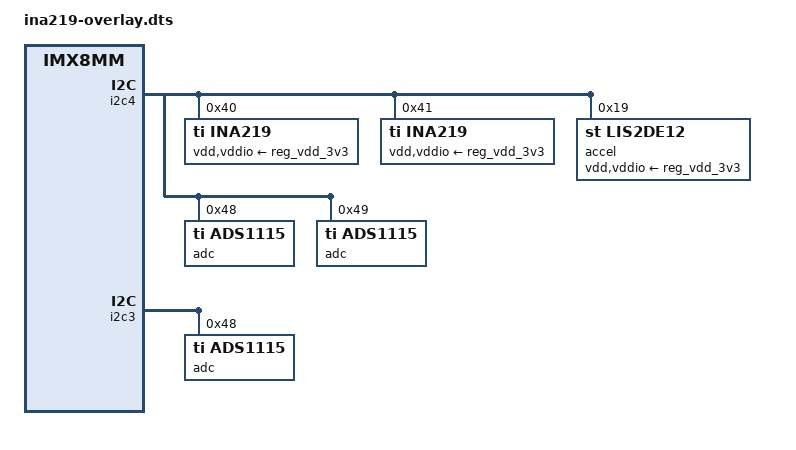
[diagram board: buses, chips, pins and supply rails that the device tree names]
/dts-v1/;
/plugin/;

/*
 * Reserved I2C addresses on i2c4 (Verdin I2C_1):
 * 0x21 - GPIO Expander (PCAL6416)
 * 0x2C - LVDS Bridge (SN65DSI84)
 * 0x40 - INA219 Current Sensor (hwmon)
 * 0x48 - HDMI Bridge (LT8912)
 * 0x49 - ADC
 * 0x4A - Touch Controller (Atmel MaxTouch)
 * 0x4F - Temperature Sensor (TMP75C)
 * 0x50 - Display Adapter EEPROM
 * 0x57 - Carrier Board EEPROM
 *
 * From i2cdetect, these addresses show as in use (UU):
 * 0x40, 0x49, 0x4F, 0x50, 0x57
 */

#include <dt-bindings/gpio/gpio.h>
#include <dt-bindings/interrupt-controller/irq.h>

/ {
	compatible = "toradex,verdin-imx8mm";
};

// Enable &i2c2
&i2c4 {   
	#address-cells = <1>;
	#size-cells = <0>;
	status = "okay";
	
	ina219@40 {
		compatible = "ti,ina219";
		reg = <0x40>;
		status = "okay";
		shunt-resistor = <100000>;
		vdd-supply = <&reg_vdd_3v3>;
		vddio-supply = <&reg_vdd_3v3>;
	};

	ina219@41 {
		compatible = "ti,ina219";
		reg = <0x41>;
		status = "okay";
		shunt-resistor = <100000>;
		vdd-supply = <&reg_vdd_3v3>;
		vddio-supply = <&reg_vdd_3v3>;
	}; 

	accel@19 {
		compatible = "st,lis2de12";
		reg = <0x19>;
		status = "okay";
		vdd-supply = <&reg_vdd_3v3>;
		vddio-supply = <&reg_vdd_3v3>;
	};

	adc@48 {
		compatible = "ti,ads1115";
		reg = <0x48>;
		#address-cells = <1>;
		#size-cells = <0>;
		#io-channel-cells = <1>;

		/* Verdin I2C_1 (ADC_4 - ADC_3) */
		channel@0 {
			reg = <0>;
			ti,datarate = <4>;
			ti,gain = <2>;
		};

		/* Verdin I2C_1 (ADC_4 - ADC_1) */
		channel@1 {
			reg = <1>;
			ti,datarate = <4>;
			ti,gain = <2>;
		};

		/* Verdin I2C_1 (ADC_3 - ADC_1) */
		channel@2 {
			reg = <2>;
			ti,datarate = <4>;
			ti,gain = <2>;
		};

		/* Verdin I2C_1 (ADC_2 - ADC_1) */
		channel@3 {
			reg = <3>;
			ti,datarate = <4>;
			ti,gain = <2>;
		};

		/* Verdin I2C_1 ADC_4 */
		channel@4 {
			reg = <4>;
			ti,datarate = <4>;
			ti,gain = <2>;
		};

		/* Verdin I2C_1 ADC_3 */
		channel@5 {
			reg = <5>;
			ti,datarate = <4>;
			ti,gain = <2>;
		};

		/* Verdin I2C_1 ADC_2 */
		channel@6 {
			reg = <6>;
			ti,datarate = <4>;
			ti,gain = <2>;
		};

		/* Verdin I2C_1 ADC_1 */
		channel@7 {
			reg = <7>;
			ti,datarate = <4>;
			ti,gain = <2>;
		};
	};

	adc@49 {
		compatible = "ti,ads1115";
		reg = <0x49>;
		#address-cells = <1>;
		#size-cells = <0>;
		#io-channel-cells = <1>;

		/* Verdin I2C_1 (ADC_4 - ADC_3) */
		channel@0 {
			reg = <0>;
			ti,datarate = <4>;
			ti,gain = <2>;
		};

		/* Verdin I2C_1 (ADC_4 - ADC_1) */
		channel@1 {
			reg = <1>;
			ti,datarate = <4>;
			ti,gain = <2>;
		};

		/* Verdin I2C_1 (ADC_3 - ADC_1) */
		channel@2 {
			reg = <2>;
			ti,datarate = <4>;
			ti,gain = <2>;
		};

		/* Verdin I2C_1 (ADC_2 - ADC_1) */
		channel@3 {
			reg = <3>;
			ti,datarate = <4>;
			ti,gain = <2>;
		};

		/* Verdin I2C_1 ADC_4 */
		channel@4 {
			reg = <4>;
			ti,datarate = <4>;
			ti,gain = <2>;
		};

		/* Verdin I2C_1 ADC_3 */
		channel@5 {
			reg = <5>;
			ti,datarate = <4>;
			ti,gain = <2>;
		};

		/* Verdin I2C_1 ADC_2 */
		channel@6 {
			reg = <6>;
			ti,datarate = <4>;
			ti,gain = <2>;
		};

		/* Verdin I2C_1 ADC_1 */
		channel@7 {
			reg = <7>;
			ti,datarate = <4>;
			ti,gain = <2>;
		};
	};
};

&i2c3 {
	#address-cells = <1>;
	#size-cells = <0>;
	status = "okay";

	adc@48 {
		compatible = "ti,ads1115";
		reg = <0x48>;
		#address-cells = <1>;
		#size-cells = <0>;
		#io-channel-cells = <1>;

		/* Verdin I2C_1 (ADC_4 - ADC_3) */
		channel@0 {
			reg = <0>;
			ti,datarate = <4>;
			ti,gain = <2>;
		};

		/* Verdin I2C_1 (ADC_4 - ADC_1) */
		channel@1 {
			reg = <1>;
			ti,datarate = <4>;
			ti,gain = <2>;
		};

		/* Verdin I2C_1 (ADC_3 - ADC_1) */
		channel@2 {
			reg = <2>;
			ti,datarate = <4>;
			ti,gain = <2>;
		};

		/* Verdin I2C_1 (ADC_2 - ADC_1) */
		channel@3 {
			reg = <3>;
			ti,datarate = <4>;
			ti,gain = <2>;
		};

		/* Verdin I2C_1 ADC_4 */
		channel@4 {
			reg = <4>;
			ti,datarate = <4>;
			ti,gain = <2>;
		};

		/* Verdin I2C_1 ADC_3 */
		channel@5 {
			reg = <5>;
			ti,datarate = <4>;
			ti,gain = <2>;
		};

		/* Verdin I2C_1 ADC_2 */
		channel@6 {
			reg = <6>;
			ti,datarate = <4>;
			ti,gain = <2>;
		};

		/* Verdin I2C_1 ADC_1 */
		channel@7 {
			reg = <7>;
			ti,datarate = <4>;
			ti,gain = <2>;
		};
	};
};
